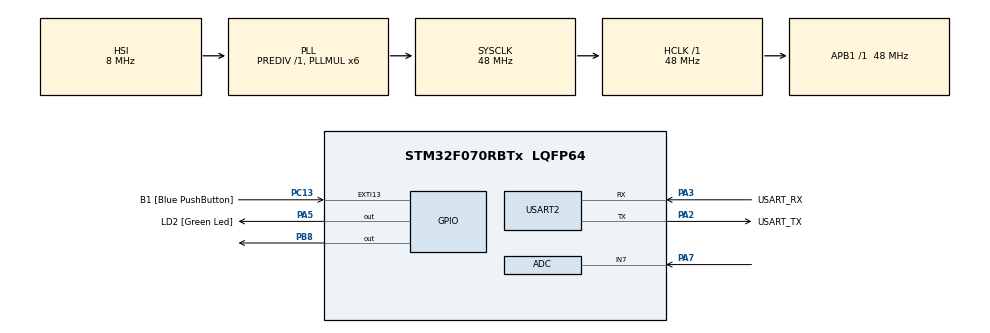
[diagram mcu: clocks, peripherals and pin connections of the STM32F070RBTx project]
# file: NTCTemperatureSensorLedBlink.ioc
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Mcu.Family=STM32F0
PC15-OSC32_OUT.Mode=LSE-External-Oscillator
PA7.Mode=IN7
PC13.Signal=GPXTI13
PA14.GPIO_Label=TCK
PC13.GPIO_Label=B1 [Blue PushButton]
PC14-OSC32_IN.Signal=RCC_OSC32_IN
PC15-OSC32_OUT.GPIO_Label=RCC_OSC32_OUT
RCC.SYSCLKSource=RCC_SYSCLKSOURCE_PLLCLK
ProjectManager.StackSize=0x400
PA3.Mode=Asynchronous
PA13.Signal=SYS_SWDIO
ProjectManager.TargetToolchain=STM32CubeIDE
RCC.HCLKFreq_Value=48000000
PC15-OSC32_OUT.Signal=RCC_OSC32_OUT
RCC.AHBFreq_Value=48000000
PF0-OSC_IN.Mode=HSE-External-Clock-Source
PA5.Signal=GPIO_Output
PF0-OSC_IN.GPIO_Label=RCC_OSC_IN
board=NUCLEO-F070RB
USART2.VirtualMode-Asynchronous=VM_ASYNC
RCC.PLLMUL=RCC_PLL_MUL6
PC14-OSC32_IN.Mode=LSE-External-Oscillator
PA14.Mode=Serial_Wire
PF1-OSC_OUT.GPIO_Label=RCC_OSC_OUT
PA13.Mode=Serial_Wire
Mcu.Name=STM32F070RBTx
PA2.Signal=USART2_TX
PA13.GPIO_Label=TMS
RCC.SYSCLKFreq_VALUE=48000000
Mcu.Package=LQFP64
PA5.GPIO_Label=LD2 [Green Led]
PC13.GPIO_ModeDefaultEXTI=GPIO_MODE_IT_FALLING
PA2.GPIO_Label=USART_TX
PA14.Signal=SYS_SWCLK
ProjectManager.HeapSize=0x200
RCC.APB1TimFreq_Value=48000000
PA2.Mode=Asynchronous
PB8.Signal=GPIO_Output
PC14-OSC32_IN.GPIO_Label=RCC_OSC32_IN
PF0-OSC_IN.Signal=RCC_OSC_IN
RCC.APB1Freq_Value=48000000
PF1-OSC_OUT.Signal=RCC_OSC_OUT
PA3.GPIO_Label=USART_RX
PA3.Signal=USART2_RX
PA7.Signal=ADC_IN7

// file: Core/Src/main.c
/* USER CODE BEGIN Header */
/**
  ******************************************************************************
  * @file           : main.c
  * @brief          : Main program body
  ******************************************************************************
  * @attention
  *
  * <h2><center>&copy; Copyright (c) 2021 STMicroelectronics.
  * All rights reserved.</center></h2>
  *
  * This software component is licensed by ST under BSD 3-Clause license,
  * the "License"; You may not use this file except in compliance with the
  * License. You may obtain a copy of the License at:
  *                        opensource.org/licenses/BSD-3-Clause
  *
  ******************************************************************************
  */
/* USER CODE END Header */
#include "main.h"

/* USER CODE BEGIN Includes */
#include "math.h"
/* USER CODE END Includes */

ADC_HandleTypeDef hadc;

UART_HandleTypeDef huart2;

void SystemClock_Config(void);
static void MX_GPIO_Init(void);
static void MX_USART2_UART_Init(void);
static void MX_ADC_Init(void);
/* USER CODE BEGIN PFP */
double Termistor(int temp);
/* USER CODE END PFP */

/* USER CODE BEGIN 0 */
float analog,temperature;
/* USER CODE END 0 */

int main(void)
{

  /* MCU Configuration--------------------------------------------------------*/

  /* Reset of all peripherals, Initializes the Flash interface and the Systick. */
  HAL_Init();

  /* Configure the system clock */
  SystemClock_Config();

  /* Initialize all configured peripherals */
  MX_GPIO_Init();
  MX_USART2_UART_Init();
  MX_ADC_Init();

  /* Infinite loop */
  /* USER CODE BEGIN WHILE */
  while (1)
  {
	  HAL_ADC_Start(&hadc);
	  analog = HAL_ADC_GetValue(&hadc);
	  temperature = Termistor(analog);
	  HAL_Delay(100);

	  if(temperature > 25){
		  GPIOB->ODR = 0x100;
		  HAL_Delay(100);
	  }
	  else{
		  GPIOB->ODR = 0;
		  HAL_Delay(100);
	  }
    /* USER CODE END WHILE */

  }
}

void SystemClock_Config(void)
{
  RCC_OscInitTypeDef RCC_OscInitStruct = {0};
  RCC_ClkInitTypeDef RCC_ClkInitStruct = {0};

  /** Initializes the RCC Oscillators according to the specified parameters
  * in the RCC_OscInitTypeDef structure.
  */
  RCC_OscInitStruct.OscillatorType = RCC_OSCILLATORTYPE_HSI|RCC_OSCILLATORTYPE_HSI14;
  RCC_OscInitStruct.HSIState = RCC_HSI_ON;
  RCC_OscInitStruct.HSI14State = RCC_HSI14_ON;
  RCC_OscInitStruct.HSICalibrationValue = RCC_HSICALIBRATION_DEFAULT;
  RCC_OscInitStruct.HSI14CalibrationValue = 16;
  RCC_OscInitStruct.PLL.PLLState = RCC_PLL_ON;
  RCC_OscInitStruct.PLL.PLLSource = RCC_PLLSOURCE_HSI;
  RCC_OscInitStruct.PLL.PLLMUL = RCC_PLL_MUL6;
  RCC_OscInitStruct.PLL.PREDIV = RCC_PREDIV_DIV1;
  if (HAL_RCC_OscConfig(&RCC_OscInitStruct) != HAL_OK)
  {
    Error_Handler();
  }
  /** Initializes the CPU, AHB and APB buses clocks
  */
  RCC_ClkInitStruct.ClockType = RCC_CLOCKTYPE_HCLK|RCC_CLOCKTYPE_SYSCLK
                              |RCC_CLOCKTYPE_PCLK1;
  RCC_ClkInitStruct.SYSCLKSource = RCC_SYSCLKSOURCE_PLLCLK;
  RCC_ClkInitStruct.AHBCLKDivider = RCC_SYSCLK_DIV1;
  RCC_ClkInitStruct.APB1CLKDivider = RCC_HCLK_DIV1;

  if (HAL_RCC_ClockConfig(&RCC_ClkInitStruct, FLASH_LATENCY_1) != HAL_OK)
  {
    Error_Handler();
  }
}

static void MX_ADC_Init(void)
{

  ADC_ChannelConfTypeDef sConfig = {0};

  /** Configure the global features of the ADC (Clock, Resolution, Data Alignment and number of conversion)
  */
  hadc.Instance = ADC1;
  hadc.Init.ClockPrescaler = ADC_CLOCK_ASYNC_DIV1;
  hadc.Init.Resolution = ADC_RESOLUTION_12B;
  hadc.Init.DataAlign = ADC_DATAALIGN_RIGHT;
  hadc.Init.ScanConvMode = ADC_SCAN_DIRECTION_FORWARD;
  hadc.Init.EOCSelection = ADC_EOC_SINGLE_CONV;
  hadc.Init.LowPowerAutoWait = DISABLE;
  hadc.Init.LowPowerAutoPowerOff = DISABLE;
  hadc.Init.ContinuousConvMode = DISABLE;
  hadc.Init.DiscontinuousConvMode = DISABLE;
  hadc.Init.ExternalTrigConv = ADC_SOFTWARE_START;
  hadc.Init.ExternalTrigConvEdge = ADC_EXTERNALTRIGCONVEDGE_NONE;
  hadc.Init.DMAContinuousRequests = DISABLE;
  hadc.Init.Overrun = ADC_OVR_DATA_PRESERVED;
  if (HAL_ADC_Init(&hadc) != HAL_OK)
  {
    Error_Handler();
  }
  /** Configure for the selected ADC regular channel to be converted.
  */
  sConfig.Channel = ADC_CHANNEL_7;
  sConfig.Rank = ADC_RANK_CHANNEL_NUMBER;
  sConfig.SamplingTime = ADC_SAMPLETIME_1CYCLE_5;
  if (HAL_ADC_ConfigChannel(&hadc, &sConfig) != HAL_OK)
  {
    Error_Handler();
  }

}

static void MX_USART2_UART_Init(void)
{

  huart2.Instance = USART2;
  huart2.Init.BaudRate = 38400;
  huart2.Init.WordLength = UART_WORDLENGTH_8B;
  huart2.Init.StopBits = UART_STOPBITS_1;
  huart2.Init.Parity = UART_PARITY_NONE;
  huart2.Init.Mode = UART_MODE_TX_RX;
  huart2.Init.HwFlowCtl = UART_HWCONTROL_NONE;
  huart2.Init.OverSampling = UART_OVERSAMPLING_16;
  huart2.Init.OneBitSampling = UART_ONE_BIT_SAMPLE_DISABLE;
  huart2.AdvancedInit.AdvFeatureInit = UART_ADVFEATURE_NO_INIT;
  if (HAL_UART_Init(&huart2) != HAL_OK)
  {
    Error_Handler();
  }

}

static void MX_GPIO_Init(void)
{
  GPIO_InitTypeDef GPIO_InitStruct = {0};

  /* GPIO Ports Clock Enable */
  __HAL_RCC_GPIOC_CLK_ENABLE();
  __HAL_RCC_GPIOF_CLK_ENABLE();
  __HAL_RCC_GPIOA_CLK_ENABLE();
  __HAL_RCC_GPIOB_CLK_ENABLE();

  /*Configure GPIO pin Output Level */
  HAL_GPIO_WritePin(LD2_GPIO_Port, LD2_Pin, GPIO_PIN_RESET);

  /*Configure GPIO pin Output Level */
  HAL_GPIO_WritePin(GPIOB, GPIO_PIN_8, GPIO_PIN_RESET);

  /*Configure GPIO pin : B1_Pin */
  GPIO_InitStruct.Pin = B1_Pin;
  GPIO_InitStruct.Mode = GPIO_MODE_IT_FALLING;
  GPIO_InitStruct.Pull = GPIO_NOPULL;
  HAL_GPIO_Init(B1_GPIO_Port, &GPIO_InitStruct);

  /*Configure GPIO pin : LD2_Pin */
  GPIO_InitStruct.Pin = LD2_Pin;
  GPIO_InitStruct.Mode = GPIO_MODE_OUTPUT_PP;
  GPIO_InitStruct.Pull = GPIO_NOPULL;
  GPIO_InitStruct.Speed = GPIO_SPEED_FREQ_LOW;
  HAL_GPIO_Init(LD2_GPIO_Port, &GPIO_InitStruct);

  /*Configure GPIO pin : PB8 */
  GPIO_InitStruct.Pin = GPIO_PIN_8;
  GPIO_InitStruct.Mode = GPIO_MODE_OUTPUT_PP;
  GPIO_InitStruct.Pull = GPIO_NOPULL;
  GPIO_InitStruct.Speed = GPIO_SPEED_FREQ_LOW;
  HAL_GPIO_Init(GPIOB, &GPIO_InitStruct);

}

/* USER CODE BEGIN 4 */
double Termistor(int temp){
	double tp;

	tp = log(((40960000 / temp) - 10000));
	tp = 1 / (0.001125308852122 + (0.000234711863267 * tp) + (0.000000085663516 * tp * tp * tp));
	tp = tp - 273.15;

	return tp;
}
/* USER CODE END 4 */

void Error_Handler(void)
{
  __disable_irq();
  while (1)
  {
  }
}

/************************ (C) COPYRIGHT STMicroelectronics *****END OF FILE****/
